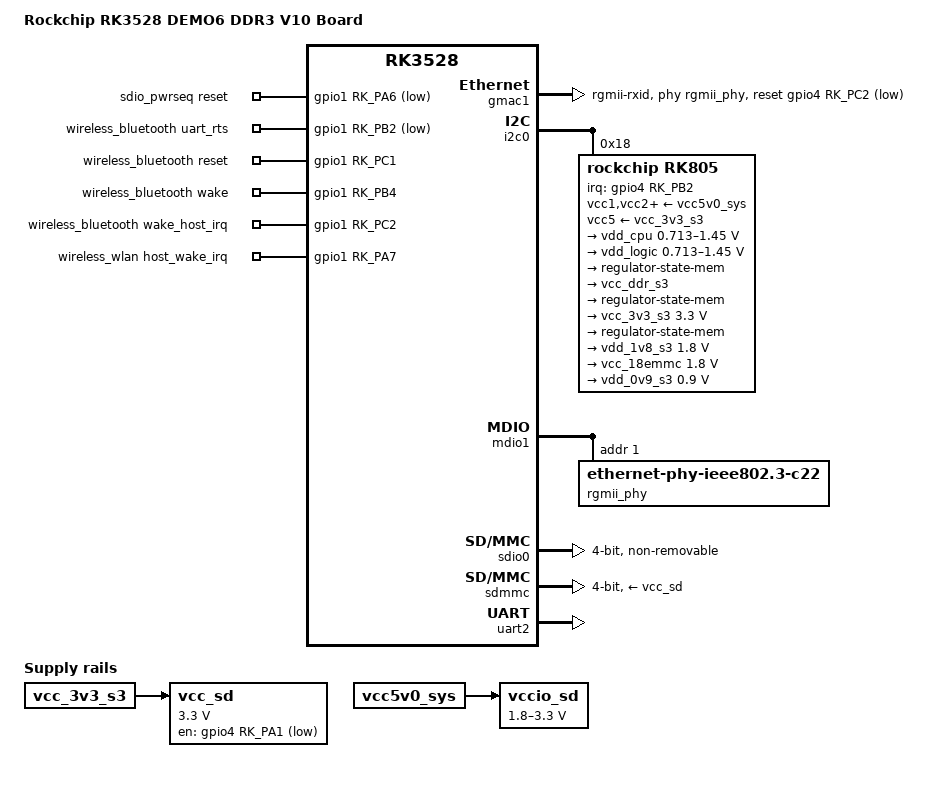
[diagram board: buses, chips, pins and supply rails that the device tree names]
// SPDX-License-Identifier: (GPL-2.0+ OR MIT)
/*
 * Copyright (c) 2023 Rockchip Electronics Co., Ltd.
 *
 */

/dts-v1/;

#include "rk3528.dtsi"
#include "rk3528-demo.dtsi"

/ {
	model = "Rockchip RK3528 DEMO6 DDR3 V10 Board";
	compatible = "rockchip,rk3528-demo6-ddr3-v10", "rockchip,rk3528";

	/delete-node/ vcc-ddr-s3;
	/delete-node/ vcc-3v3-s3;
	/delete-node/ vdd-cpu;
	/delete-node/ vdd-logic;
	/delete-node/ vdd-0v9-s3;
	/delete-node/ vdd-1v8-s3;

	/omit-if-no-ref/
	vcc_sd: vcc-sd {
		compatible = "regulator-fixed";
		regulator-boot-on;
		gpio = <&gpio4 RK_PA1 GPIO_ACTIVE_LOW>;
		regulator-name = "vcc_sd";
		regulator-min-microvolt = <3300000>;
		regulator-max-microvolt = <3300000>;
		vin-supply = <&vcc_3v3_s3>;
	};

	sdio_pwrseq: sdio-pwrseq {
		compatible = "mmc-pwrseq-simple";
		pinctrl-names = "default";
		pinctrl-0 = <&wifi_enable_h  &clkm1_32k_out>;
		reset-gpios = <&gpio1 RK_PA6 GPIO_ACTIVE_LOW>;
	};

	/omit-if-no-ref/
	vccio_sd: vccio-sd {
		compatible = "regulator-gpio";
		regulator-name = "vccio_sd";
		regulator-min-microvolt = <1800000>;
		regulator-max-microvolt = <3300000>;
		gpios = <&gpio4 RK_PB6 GPIO_ACTIVE_HIGH>;
		vin-supply = <&vcc5v0_sys>;
		states = <1800000 0x0
			  3300000 0x1>;
	};

	wireless_bluetooth: wireless-bluetooth {
		compatible = "bluetooth-platdata";
		//wifi-bt-power-toggle;
		uart_rts_gpios = <&gpio1 RK_PB2 GPIO_ACTIVE_LOW>;
		pinctrl-names = "default", "rts_gpio";
		pinctrl-0 = <&uart2m1_rtsn &bt_enable_h>;
		pinctrl-1 = <&uart2m1_gpios>;
		BT,reset_gpio    = <&gpio1 RK_PC1 GPIO_ACTIVE_HIGH>;
		BT,wake_gpio     = <&gpio1 RK_PB4 GPIO_ACTIVE_HIGH>;
		BT,wake_host_irq = <&gpio1 RK_PC2 GPIO_ACTIVE_HIGH>;
		status = "okay";
	};

	wireless_wlan: wireless-wlan {
		compatible = "wlan-platdata";
		rockchip,grf = <&grf>;
		wifi_chip_type = "aic8800";
		pinctrl-names = "default";
		pinctrl-0 = <&wifi_host_wake_irq >;
		WIFI,host_wake_irq = <&gpio1 RK_PA7 GPIO_ACTIVE_HIGH>;
		//WIFI,reset_gpio = <&gpio1 RK_PA6  GPIO_ACTIVE_HIGH>;
		status = "okay";
	};
};

&gmac0 {
	status = "disabled";
};

&gmac1 {
	/* Use rgmii-rxid mode to disable rx delay inside Soc */
	phy-mode = "rgmii-rxid";
	clock_in_out = "output";

	snps,reset-gpio = <&gpio4 RK_PC2 GPIO_ACTIVE_LOW>;
	snps,reset-active-low;
	/* Reset time is 20ms, 100ms for rtl8211f */
	snps,reset-delays-us = <0 20000 100000>;

	tx_delay = <0x30>;
	/* rx_delay = <0x3f>; */

	pinctrl-names = "default";
	pinctrl-0 = <&rgmii_miim
		     &rgmii_tx_bus2
		     &rgmii_rx_bus2
		     &rgmii_rgmii_clk
		     &rgmii_rgmii_bus
		     &eth_pins>;

	phy-handle = <&rgmii_phy>;
	status = "okay";
};

&i2c0 {
	status = "okay";

	rk805: rk805@18 {
		compatible = "rockchip,rk805";
		status = "okay";
		reg = <0x18>;
		interrupt-parent = <&gpio4>;
		interrupts = <RK_PB2 IRQ_TYPE_LEVEL_LOW>;
		pinctrl-names = "default";
		pinctrl-0 = <&pmic_int_l>;
		wakeup-source;
		gpio-controller;
		#gpio-cells = <2>;
		#clock-cells = <1>;
		clock-output-names = "rk805-clkout1", "rk805-clkout2";
		rockchip,system-power-controller;

		vcc1-supply = <&vcc5v0_sys>;
		vcc2-supply = <&vcc5v0_sys>;
		vcc3-supply = <&vcc5v0_sys>;
		vcc4-supply = <&vcc5v0_sys>;
		vcc5-supply = <&vcc_3v3_s3>;
		vcc6-supply = <&vcc5v0_sys>;

		rtc {
			status = "okay";
		};

		pwrkey {
			status = "disabled";
		};

		gpio {
			status = "okay";
		};

		regulators {
			vdd_cpu: DCDC_REG1 {
				regulator-name = "vdd_cpu";
				regulator-min-microvolt = <712500>;
				regulator-max-microvolt = <1450000>;
				regulator-init-microvolt = <953000>;
				regulator-initial-mode = <0x1>;
				regulator-ramp-delay = <12500>;
				regulator-boot-on;
				regulator-always-on;
				regulator-state-mem {
					regulator-off-in-suspend;
				};
			};

			vdd_logic: DCDC_REG2 {
				regulator-name = "vdd_logic";
				regulator-min-microvolt = <712500>;
				regulator-max-microvolt = <1450000>;
				regulator-init-microvolt = <900000>;
				regulator-initial-mode = <0x1>;
				regulator-ramp-delay = <12500>;
				regulator-boot-on;
				regulator-always-on;
				regulator-state-mem {
					regulator-mode = <0x2>;
					regulator-on-in-suspend;
					regulator-suspend-microvolt = <712500>;
				};
			};

			vcc_ddr_s3: DCDC_REG3 {
				regulator-name = "vcc_ddr_s3";
				regulator-initial-mode = <0x1>;
				regulator-boot-on;
				regulator-always-on;
				regulator-state-mem {
					regulator-mode = <0x2>;
					regulator-on-in-suspend;
				};
			};

			vcc_3v3_s3: DCDC_REG4 {
				regulator-name = "vcc_3v3_s3";
				regulator-min-microvolt = <3300000>;
				regulator-max-microvolt = <3300000>;
				regulator-initial-mode = <0x1>;
				regulator-boot-on;
				regulator-always-on;
				regulator-state-mem {
					regulator-mode = <0x2>;
					regulator-on-in-suspend;
					regulator-suspend-microvolt = <3300000>;
				};
			};

			vdd_1v8_s3: LDO_REG1 {
				regulator-name = "vdd_1v8_s3";
				regulator-min-microvolt = <1800000>;
				regulator-max-microvolt = <1800000>;
				regulator-boot-on;
				regulator-always-on;
				regulator-state-mem {
					regulator-on-in-suspend;
					regulator-suspend-microvolt = <1800000>;
				};
			};

			vcc_18emmc: LDO_REG2 {
				regulator-name = "vcc_18emmc";
				regulator-min-microvolt = <1800000>;
				regulator-max-microvolt = <1800000>;
				regulator-boot-on;
				regulator-always-on;
				regulator-state-mem {
					regulator-on-in-suspend;
					regulator-suspend-microvolt = <1800000>;
				};
			};

			vdd_0v9_s3: LDO_REG3 {
				regulator-name = "vdd_0v9_s3";
				regulator-min-microvolt = <900000>;
				regulator-max-microvolt = <900000>;
				regulator-boot-on;
				regulator-always-on;
				regulator-state-mem {
					regulator-on-in-suspend;
					regulator-suspend-microvolt = <900000>;
				};
			};
		};
	};
};

&mdio1 {
	rgmii_phy: phy@1 {
		compatible = "ethernet-phy-ieee802.3-c22";
		reg = <0x1>;
		clocks = <&cru CLK_GMAC1_VPU_25M>;
	};
};

&pinctrl {
	pmic {
		pmic_int_l: pmic-int-l {
		rockchip,pins =
			<4 RK_PB2 RK_FUNC_GPIO &pcfg_pull_up>;
		};
	};

	sdio-pwrseq {
		wifi_enable_h: wifi-enable-h {
			rockchip,pins = <1 RK_PA6 RK_FUNC_GPIO &pcfg_pull_none>;
		};
	};

	wireless-wlan {
		wifi_host_wake_irq: wifi-host-wake-irq {
			rockchip,pins = <1 RK_PA7 RK_FUNC_GPIO &pcfg_pull_down>;
		};
	};

	wireless-bluetooth {
		uart2m1_gpios: uart2m1-gpios {
			rockchip,pins = <1 RK_PB2 RK_FUNC_GPIO &pcfg_pull_none>;
		};
		bt_enable_h: bt-enable-h {
			rockchip,pins = <1 RK_PC1 RK_FUNC_GPIO &pcfg_pull_down>;
		};
	};
};

&pwm1 {
	status = "disabled";
};

&pwm2 {
	status = "disabled";
};

&rockchip_suspend {
	status = "okay";
	rockchip,sleep-mode-config = <
		(0
		 |RKPM_SLP_ARMOFF
		)
	>;
};

&sdio0 {
	max-frequency = <200000000>;
	no-sd;
	no-mmc;
	supports-sdio;
	bus-width = <4>;
	disable-wp;
	cap-sd-highspeed;
	cap-sdio-irq;
	keep-power-in-suspend;
	non-removable;
	mmc-pwrseq = <&sdio_pwrseq>;
	pinctrl-names = "default";
	pinctrl-0 = <&sdio0_bus4 &sdio0_cmd &sdio0_clk>;
	post-power-on-delay-ms = <50>;
	/delete-property/ rockchip,use-v2-tuning;
	sd-uhs-sdr104;
	status = "okay";
};

&sdmmc {
	bus-width = <4>;
	cap-mmc-highspeed;
	cap-sd-highspeed;
	disable-wp;
	max-frequency = <150000000>;
	pinctrl-names = "default";
	pinctrl-0 = <&sdmmc_clk &sdmmc_cmd &sdmmc_det &sdmmc_bus4>;
	rockchip,default-sample-phase = <90>;
	supports-sd;
	sd-uhs-sdr12;
	sd-uhs-sdr25;
	sd-uhs-sdr50;
	sd-uhs-sdr104;
	vqmmc-supply = <&vccio_sd>;
	vmmc-supply = <&vcc_sd>;
	status = "okay";
};

&uart2 {
	status = "okay";
	pinctrl-names = "default";
	pinctrl-0 = <&uart2m1_xfer &uart2m1_ctsn>;
};
